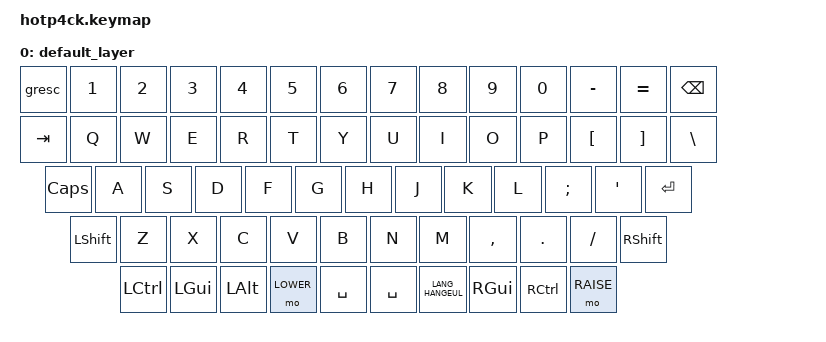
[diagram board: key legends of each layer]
/*
 * Copyright (c) 2021 Nick Winans
 *
 * SPDX-License-Identifier: MIT
 */

#include <behaviors.dtsi>
#include <dt-bindings/zmk/keys.h>
#include <dt-bindings/zmk/bt.h>
#include <dt-bindings/zmk/outputs.h>

/ {
    keymap {
        compatible = "zmk,keymap";

        default_layer {
// ------------------------------------------------------------------------------------------
// | ESC |  1  |  2  |  3  |  4  |  5  |  6  |  7  |  8  |  9  |  0  |  -  |  =  |   BKSP   |
// | TAB  |  Q  |  W  |  E  |  R  |  T  |  Y  |  U  |  I  |  O  |  P  |  [  |  ]  |   "|"   |
// |  CAPS  |  A  |  S  |  D  |  F  |  G  |  H  |  J  |  K  |  L  |  ;  |  '  |    ENTER    |
// |  SHIFT  |  Z  |  X  |  C  |  V  |  B  |  N  |  M  |  ,  |  .  |  /  |      SHIFT       |
// |  CTL  |  WIN  |  ALT  |  MO(1)  |    SPACE    |  BAR  |  ALT  |  WIN  | CTL |  MO(2)  |
// ------------------------------------------------------------------------------------------
            bindings = <
    &gresc  &kp N1 &kp N2 &kp N3 &kp N4 &kp N5 &kp N6 &kp N7 &kp N8 &kp N9 &kp N0 &kp MINUS &kp EQUAL  &kp BSPC
    &kp TAB  &kp Q  &kp W  &kp E  &kp R  &kp T  &kp Y  &kp U  &kp I  &kp O  &kp P  &kp LBKT  &kp RBKT  &kp BSLH
    &kp CLCK  &kp A  &kp S  &kp D  &kp F  &kp G  &kp H  &kp J  &kp K  &kp L  &kp SEMI &kp SQT           &kp RET
    &kp LSHFT  &kp Z  &kp X  &kp C  &kp V  &kp B  &kp N  &kp M  &kp COMMA &kp DOT &kp FSLH    &kp RSHFT
    &kp LCTRL &kp LGUI &kp LALT  &mo LOWER &kp SPACE &kp SPACE &kp LANG_HANGEUL  &kp RGUI  &kp RCTRL &mo RAISE
            >;
        };
    };
};
